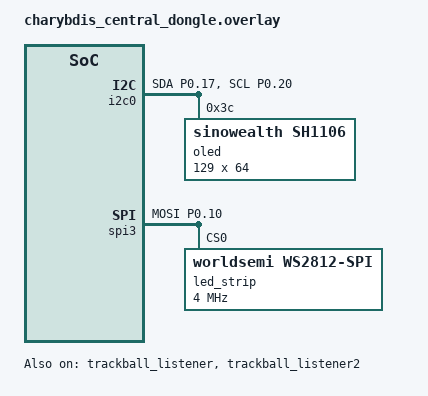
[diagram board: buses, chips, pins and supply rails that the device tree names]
/*
 * Copyright (c) 2020 The ZMK Contributors
 *
 * SPDX-License-Identifier: MIT
 */

#include "charybdis.dtsi"
#include "split_input_common.dtsi"
#include <dt-bindings/led/led.h>


/ {
    chosen {
        zmk,kscan = &kscan0;
        zephyr,display = &oled;
        zmk,underglow = &led_strip;
        zephyr,console = &uart0;
    };

    kscan0: kscan_1 {
        compatible = "zmk,kscan-mock";
        columns = <0>;
        rows = <0>;
        events = <0>;
    };
};


&trackball_listener {
    status = "okay";
};
&trackball_listener2 {
    status = "okay";
};

&pinctrl {
    i2c0_default: i2c0_default {
        group1 {
            psels = <NRF_PSEL(TWIM_SDA, 0, 17)>,
                <NRF_PSEL(TWIM_SCL, 0, 20)>;
        };
    };

    i2c0_sleep: i2c0_sleep {
        group1 {
            psels = <NRF_PSEL(TWIM_SDA, 0, 17)>,
                <NRF_PSEL(TWIM_SCL, 0, 20)>;
            low-power-enable;
        };
    };

}; 

&i2c0 {
	status = "okay";
	compatible = "nordic,nrf-twi";
    pinctrl-0 = <&i2c0_default>;
    pinctrl-1 = <&i2c0_sleep>;
	oled: sh1106@3c {
        compatible = "sinowealth,sh1106";
        reg = <0x3c>;
        width = <129>;
        height = <64>;
        segment-offset = <1>;
        page-offset = <0>;
        display-offset = <0>;
        multiplex-ratio = <63>;
        segment-remap;
        com-invdir;
        inversion-on;
        prechargep = <0x22>;
	};
};

//RGB bus

&pinctrl {
    spi3_default: spi3_default {
        group1 {
            psels = <NRF_PSEL(SPIM_MOSI, 0, 10)>;
        };
    };

    spi3_sleep: spi3_sleep {
        group1 {
            psels = <NRF_PSEL(SPIM_MOSI, 0, 10)>;
            low-power-enable;
        };
    };
};

&spi3 {
    compatible = "nordic,nrf-spim";
    status = "okay";

    pinctrl-0 = <&spi3_default>;
    pinctrl-1 = <&spi3_sleep>;
    pinctrl-names = "default", "sleep";

    led_strip: ws2812@0 {
        compatible = "worldsemi,ws2812-spi";

        /* SPI */
        reg = <0>; /* ignored, but necessary for SPI bindings */
        spi-max-frequency = <4000000>;

        /* WS2812 */
        chain-length = <1>; /* number of LEDs */
        spi-one-frame = <0x70>;
        spi-zero-frame = <0x40>;
        color-mapping = <LED_COLOR_ID_GREEN LED_COLOR_ID_RED LED_COLOR_ID_BLUE>;
    };
};
